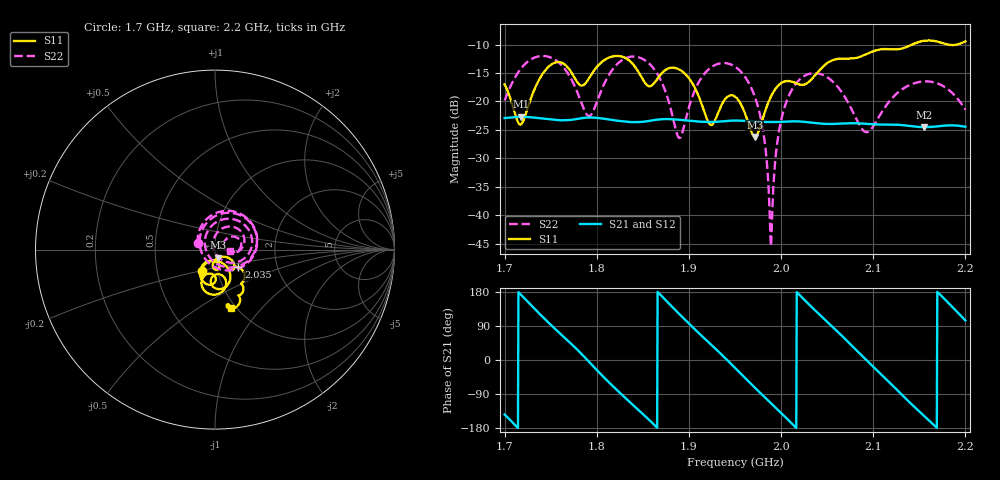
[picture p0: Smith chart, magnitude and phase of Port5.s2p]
# Hz S RI R 50
! CMT, CMT808U, 21440046, 21.4.3/4
! Date: 11/20/2025 11:30:20 PM
! Data: Format (Calibration Info)
! Freq	S11:Re/Im(F2)	S41:Re/Im(F2)	S14:Re/Im(F2)	S44:Re/Im(F2)
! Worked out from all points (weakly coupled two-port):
!   1001 points, 1.7 GHz to 2.2 GHz, reference 50 ohm
!   highest |S21| = -22.71 dB at 1.718 GHz (marker M1); lowest = -24.5 dB at 2.155 GHz (marker M2)
!   lowest |S11| = -26.2 dB at 1.972 GHz (marker M3), VSWR 1.10, Z = 51.7 - j4.66 ohm
!   |S11| at or under -10 dB: start of sweep to 2.142 GHz; 2.181167 GHz to 2.190907 GHz (9.74 MHz wide, 0.446 % of centre)
!   |S22| runs from -45.5 to -12.0 dB; largest |S21 - S12| = 0.0014
!   S11 on the Smith chart (normalised r, x): 1.7 GHz: 0.84, -0.21; 2.035 GHz: 1.27, -0.26; 2.2 GHz: 0.95, -0.70
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1.7e9  -0.0743 -0.1198  -0.0576 -0.0422  -0.0586 -0.0415  -0.096 0.0344
1.7175e9  0.000859 -0.0627  -0.0726 0.0092  -0.0728 0.0105  -0.0166 0.1929
1.7515e9  0.0647 -0.2031  0.000452 0.0692  0.00159 0.0695  0.2356 0.0478
1.7835e9  0.0116 -0.1373  0.0686 0.0195  0.0692 0.0184  -0.00409 -0.0964
1.7935e9  0.055 -0.16  0.0712 -0.0121  0.0714 -0.0134  -0.0733 -0.0191
1.8235e9  -0.0167 -0.2505  0.0081 -0.0669  0.00692 -0.0674  0.0734 0.2051
1.846e9  -0.0709 -0.1626  -0.0453 -0.0477  -0.0464 -0.0471  0.2317 0.0757
1.867e9  0.00428 -0.1628  -0.0693 0.00316  -0.0695 0.00444  0.1427 -0.088
1.89e9  -0.0664 -0.1779  -0.0346 0.0597  -0.0336 0.0605  -0.044 -0.0185
1.9235e9  -0.0128 -0.0609  0.0491 0.0439  0.0501 0.0431  0.1022 0.1692
1.95e9  -0.00162 -0.1102  0.0634 -0.0242  0.0632 -0.0255  0.2021 0.00915
1.9715e9  0.0188 -0.045  0.0196 -0.0638  0.0184 -0.0644  0.0828 -0.0726
1.9815e9  0.0641 -0.042  -0.00742 -0.0657  -0.00874 -0.0657  0.0215 -0.0438
1.989e9  0.0931 -0.0587  -0.0267 -0.0602  -0.0279 -0.0598  -0.00507 -0.00166
1.9955e9  0.1066 -0.0811  -0.0415 -0.0512  -0.0427 -0.0505  -0.00995 0.0401
2.003e9  0.1066 -0.1043  -0.0554 -0.0364  -0.0563 -0.0354  0.00496 0.0845
2.0335e9  0.1251 -0.0969  -0.049 0.0426  -0.0482 0.0437  0.1467 0.0989
2.035e9  0.1302 -0.0985  -0.0462 0.0454  -0.0453 0.0464  0.1509 0.0932
2.0915e9  0.1567 -0.2057  0.0635 0.00262  0.0637 0.00143  0.0525 0.0121
2.117e9  0.1345 -0.2545  0.0335 -0.0529  0.0325 -0.0537  0.0732 0.0666
2.1555e9  0.1172 -0.3211  -0.0505 -0.0314  -0.0511 -0.0303  0.144 0.0422
2.2e9  0.089 -0.3265  -0.015 0.0579  -0.0138 0.0582  0.084 -0.0105
